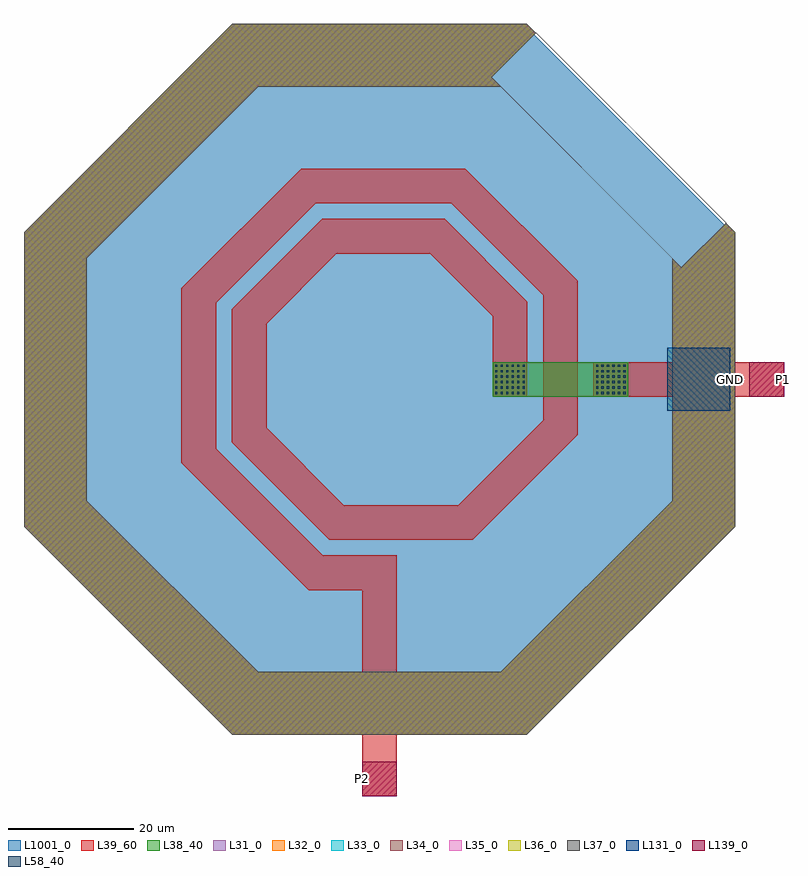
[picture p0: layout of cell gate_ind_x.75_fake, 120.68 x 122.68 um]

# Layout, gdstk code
import gdstk
lib = gdstk.Library(unit=1e-6, precision=1e-09)
def R(c, l, rs):  # rectangles x0, y0, x1, y1
    for r in rs: c.add(gdstk.rectangle(r[:2], r[2:], *l))
def A(c, l, x, y, w, h, nx, ny, dx, dy):  # array of equal rectangles
    R(c, l, [(x+i*dx, y+j*dy, x+i*dx+w, y+j*dy+h) for i in range(nx) for j in range(ny)])
def P(c, l, *ps):  # polygons
    for p in ps: c.add(gdstk.Polygon(p, *l))
L31_0 = (31, 0)
L32_0 = (32, 0)
L33_0 = (33, 0)
L34_0 = (34, 0)
L35_0 = (35, 0)
L36_0 = (36, 0)
L37_0 = (37, 0)
L38_40 = (38, 40)
L39_60 = (39, 60)
L58_40 = (58, 40)
L131_0 = (131, 0)
L139_0 = (139, 0)
L1001_0 = (1001, 0)

gate_ind_x_75_fake = lib.new_cell('gate_ind_x.75_fake')
P(gate_ind_x_75_fake, L31_0, [(47.932,17.783),(55.004,24.854),(23.39,56.468),(-23.39,56.468),(-56.468,23.39),(-56.468,-23.39),(-23.39,-56.468),(23.39,-56.468),(56.468,-23.39),(56.468,23.39),(24.854,55.004),(17.783,47.932),(46.468,19.248),(46.468,-19.248),(19.248,-46.468),(-19.248,-46.468),(-46.468,-19.248),(-46.468,19.248),(-19.248,46.468),(19.248,46.468)])
P(gate_ind_x_75_fake, L32_0, [(47.932,17.783),(55.004,24.854),(23.39,56.468),(-23.39,56.468),(-56.468,23.39),(-56.468,-23.39),(-23.39,-56.468),(23.39,-56.468),(56.468,-23.39),(56.468,23.39),(24.854,55.004),(17.783,47.932),(46.468,19.248),(46.468,-19.248),(19.248,-46.468),(-19.248,-46.468),(-46.468,-19.248),(-46.468,19.248),(-19.248,46.468),(19.248,46.468)])
P(gate_ind_x_75_fake, L33_0, [(47.932,17.783),(55.004,24.854),(23.39,56.468),(-23.39,56.468),(-56.468,23.39),(-56.468,-23.39),(-23.39,-56.468),(23.39,-56.468),(56.468,-23.39),(56.468,23.39),(24.854,55.004),(17.783,47.932),(46.468,19.248),(46.468,-19.248),(19.248,-46.468),(-19.248,-46.468),(-46.468,-19.248),(-46.468,19.248),(-19.248,46.468),(19.248,46.468)])
P(gate_ind_x_75_fake, L34_0, [(47.932,17.783),(55.004,24.854),(23.39,56.468),(-23.39,56.468),(-56.468,23.39),(-56.468,-23.39),(-23.39,-56.468),(23.39,-56.468),(56.468,-23.39),(56.468,23.39),(24.854,55.004),(17.783,47.932),(46.468,19.248),(46.468,-19.248),(19.248,-46.468),(-19.248,-46.468),(-46.468,-19.248),(-46.468,19.248),(-19.248,46.468),(19.248,46.468)])
P(gate_ind_x_75_fake, L35_0, [(47.932,17.783),(55.004,24.854),(23.39,56.468),(-23.39,56.468),(-56.468,23.39),(-56.468,-23.39),(-23.39,-56.468),(23.39,-56.468),(56.468,-23.39),(56.468,23.39),(24.854,55.004),(17.783,47.932),(46.468,19.248),(46.468,-19.248),(19.248,-46.468),(-19.248,-46.468),(-46.468,-19.248),(-46.468,19.248),(-19.248,46.468),(19.248,46.468)])
P(gate_ind_x_75_fake, L36_0, [(47.932,17.783),(55.004,24.854),(23.39,56.468),(-23.39,56.468),(-56.468,23.39),(-56.468,-23.39),(-23.39,-56.468),(23.39,-56.468),(56.468,-23.39),(56.468,23.39),(24.854,55.004),(17.783,47.932),(46.468,19.248),(46.468,-19.248),(19.248,-46.468),(-19.248,-46.468),(-46.468,-19.248),(-46.468,19.248),(-19.248,46.468),(19.248,46.468)])
P(gate_ind_x_75_fake, L37_0, [(47.932,17.783),(55.004,24.854),(23.39,56.468),(-23.39,56.468),(-56.468,23.39),(-56.468,-23.39),(-23.39,-56.468),(23.39,-56.468),(56.468,-23.39),(56.468,23.39),(24.854,55.004),(17.783,47.932),(46.468,19.248),(46.468,-19.248),(19.248,-46.468),(-19.248,-46.468),(-46.468,-19.248),(-46.468,19.248),(-19.248,46.468),(19.248,46.468)])
R(gate_ind_x_75_fake, L38_40, [(17.96,-2.75,39.46,2.75)])
P(gate_ind_x_75_fake, L38_40, [(47.932,17.783),(55.004,24.854),(23.39,56.468),(-23.39,56.468),(-56.468,23.39),(-56.468,-23.39),(-23.39,-56.468),(23.39,-56.468),(56.468,-23.39),(56.468,23.39),(24.854,55.004),(17.783,47.932),(46.468,19.248),(46.468,-19.248),(19.248,-46.468),(-19.248,-46.468),(-46.468,-19.248),(-46.468,19.248),(-19.248,46.468),(19.248,46.468)])
R(gate_ind_x_75_fake, L39_60, [(-2.75,-66.21,2.75,-27.96), (33.96,-2.75,64.21,2.75)])
P(gate_ind_x_75_fake, L39_60, [(17.96,-2.75),(23.46,-2.75),(23.46,12.304),(10.304,25.46),(-9.129,25.46),(-23.46,11.129),(-23.46,-9.959),(-7.959,-25.46),(14.789,-25.46),(31.46,-8.789),(31.46,15.614),(13.614,33.46),(-12.444,33.46),(-31.46,14.444),(-31.46,-13.274),(-11.274,-33.46),(0,-33.46),(0,-27.96),(-8.996,-27.96),(-25.96,-10.996),(-25.96,12.166),(-10.166,27.96),(11.336,27.96),(25.96,13.336),(25.96,-6.511),(12.511,-19.96),(-5.681,-19.96),(-17.96,-7.681),(-17.96,8.851),(-6.851,19.96),(8.026,19.96),(17.96,10.026)],
  [(47.932,17.783),(55.004,24.854),(23.39,56.468),(-23.39,56.468),(-56.468,23.39),(-56.468,-23.39),(-23.39,-56.468),(23.39,-56.468),(56.468,-23.39),(56.468,23.39),(24.854,55.004),(17.783,47.932),(46.468,19.248),(46.468,-19.248),(19.248,-46.468),(-19.248,-46.468),(-46.468,-19.248),(-46.468,19.248),(-19.248,46.468),(19.248,46.468)])
A(gate_ind_x_75_fake, L58_40, 18.359, -2.35, 0.35, 0.35, 6, 6, 0.87, 0.87)
A(gate_ind_x_75_fake, L58_40, 34.359, -2.35, 0.35, 0.35, 6, 6, 0.87, 0.87)
R(gate_ind_x_75_fake, L131_0, [(45.71,-5,55.71,5)])
R(gate_ind_x_75_fake, L139_0, [(-2.75,-66.21,2.75,-60.71), (58.71,-2.75,64.21,2.75)])
P(gate_ind_x_75_fake, L1001_0, [(56.087,23.232),(23.232,56.087),(-23.232,56.087),(-56.087,23.232),(-56.087,-23.232),(-23.232,-56.087),(23.232,-56.087),(56.087,-23.232)],
  [(56.087,23.232),(23.232,56.087),(-23.232,56.087),(-56.087,23.232),(-56.087,-23.232),(-23.232,-56.087),(23.232,-56.087),(56.087,-23.232)],
  [(56.087,23.232),(23.232,56.087),(-23.232,56.087),(-56.087,23.232),(-56.087,-23.232),(-23.232,-56.087),(23.232,-56.087),(56.087,-23.232)],
  [(56.087,23.232),(23.232,56.087),(-23.232,56.087),(-56.087,23.232),(-56.087,-23.232),(-23.232,-56.087),(23.232,-56.087),(56.087,-23.232)],
  [(56.087,23.232),(23.232,56.087),(-23.232,56.087),(-56.087,23.232),(-56.087,-23.232),(-23.232,-56.087),(23.232,-56.087),(56.087,-23.232)],
  [(56.087,23.232),(23.232,56.087),(-23.232,56.087),(-56.087,23.232),(-56.087,-23.232),(-23.232,-56.087),(23.232,-56.087),(56.087,-23.232)],
  [(56.087,23.232),(23.232,56.087),(-23.232,56.087),(-56.087,23.232),(-56.087,-23.232),(-23.232,-56.087),(23.232,-56.087),(56.087,-23.232)],
  [(56.087,23.232),(23.232,56.087),(-23.232,56.087),(-56.087,23.232),(-56.087,-23.232),(-23.232,-56.087),(23.232,-56.087),(56.087,-23.232)],
  [(56.087,23.232),(23.232,56.087),(-23.232,56.087),(-56.087,23.232),(-56.087,-23.232),(-23.232,-56.087),(23.232,-56.087),(56.087,-23.232)])
gate_ind_x_75_fake.add(gdstk.Label('P1', (64.209,0), layer=139, texttype=0))
gate_ind_x_75_fake.add(gdstk.Label('P2', (-2.75,-63.459), layer=139, texttype=0))
gate_ind_x_75_fake.add(gdstk.Label('GND', (55.709,0), layer=131, texttype=0))

lib.write_gds('gate_ind_x.75_fake.gds')
